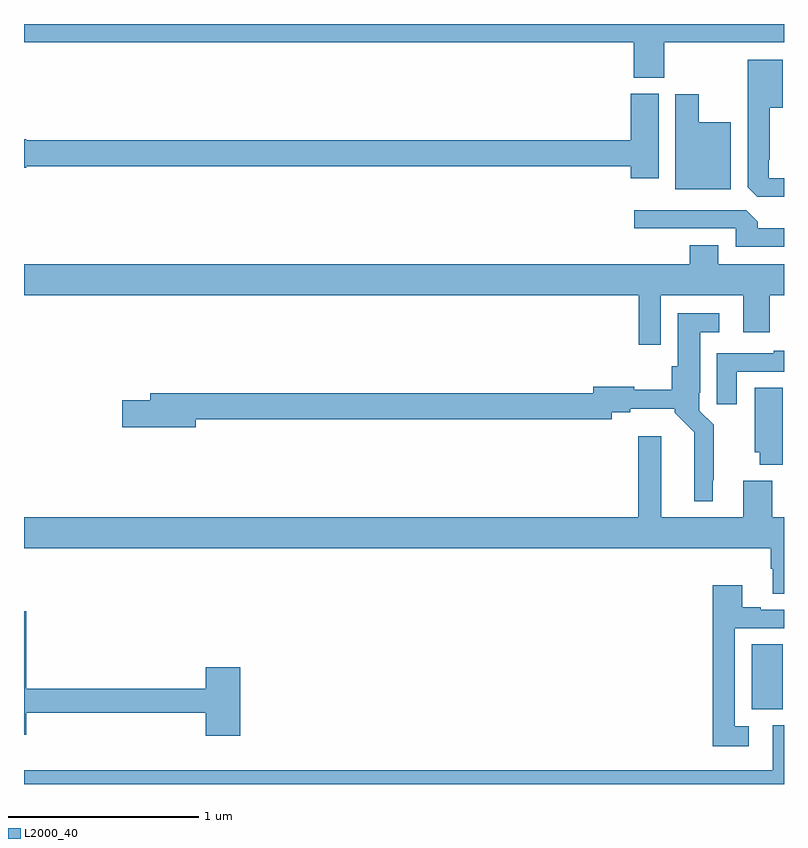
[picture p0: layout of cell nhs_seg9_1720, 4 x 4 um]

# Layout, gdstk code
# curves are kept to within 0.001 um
import gdstk
lib = gdstk.Library(unit=1e-6, precision=1e-09)
def R(c, l, rs):  # rectangles x0, y0, x1, y1
    for r in rs: c.add(gdstk.rectangle(r[:2], r[2:], *l))
def P(c, l, *ps):  # polygons
    for p in ps: c.add(gdstk.Polygon(p, *l))
L2000_40 = (2000, 40)

nhs_seg9_1720 = lib.new_cell('nhs_seg9_1720')
R(nhs_seg9_1720, L2000_40, [(210.83,1208.893,210.994,1209.236)])
P(nhs_seg9_1720, L2000_40, [(210.369,1212.404),(211,1212.404),(211,1212.5),(207,1212.5),(207,1212.404),(210.209,1212.404),(210.209,1212.217),(210.369,1212.217)],
  [(211,1211.688),(210.921,1211.688),(210.921,1211.785),(210.925,1211.785),(210.925,1212.059),(210.994,1212.059),(210.994,1212.313),(210.809,1212.313),(210.809,1211.641),(210.858,1211.592),(211,1211.592)],
  [(210.34,1212.132),(210.194,1212.132),(210.194,1211.888),(207.012,1211.888),(207.012,1211.894),(207,1211.894),(207,1211.744),(207.012,1211.744),(207.012,1211.752),(210.194,1211.752),(210.194,1211.688),(210.34,1211.688)],
  [(210.721,1211.983),(210.55,1211.983),(210.55,1212.13),(210.428,1212.13),(210.428,1211.63),(210.721,1211.63)],
  [(211,1211.424),(210.863,1211.424),(210.863,1211.458),(210.801,1211.52),(210.213,1211.52),(210.213,1211.424),(210.747,1211.424),(210.747,1211.328),(211,1211.328)],
  [(210.351,1211.072),(210.785,1211.072),(210.785,1210.878),(210.925,1210.878),(210.925,1211.072),(211,1211.072),(211,1211.236),(210.655,1211.236),(210.655,1211.335),(210.503,1211.335),(210.503,1211.236),(207,1211.236),(207,1211.072),(210.235,1211.072),(210.235,1210.812),(210.351,1210.812)],
  [(210.625,1210.099),(210.629,1210.099),(210.629,1210.39),(210.555,1210.464),(210.555,1210.558),(210.559,1210.558),(210.559,1210.877),(210.658,1210.877),(210.658,1210.978),(210.44,1210.978),(210.44,1210.698),(210.41,1210.698),(210.41,1210.575),(210.213,1210.575),(210.213,1210.592),(209.997,1210.592),(209.997,1210.556),(207.665,1210.556),(207.665,1210.52),(207.516,1210.52),(207.516,1210.378),(207.904,1210.378),(207.904,1210.42),(210.093,1210.42),(210.093,1210.456),(210.19,1210.456),(210.19,1210.475),(210.426,1210.475),(210.426,1210.454),(210.528,1210.352),(210.527,1209.989),(210.625,1209.989)],
  [(210.751,1210.671),(211,1210.671),(211,1210.78),(210.947,1210.78),(210.947,1210.767),(210.647,1210.767),(210.647,1210.5),(210.751,1210.5)],
  [(210.994,1210.586),(210.845,1210.586),(210.845,1210.245),(210.872,1210.245),(210.872,1210.181),(210.994,1210.181)],
  [(211,1209.904),(210.938,1209.904),(210.938,1210.096),(210.785,1210.096),(210.785,1209.904),(210.355,1209.904),(210.355,1210.33),(210.233,1210.33),(210.233,1209.904),(207,1209.904),(207,1209.74),(210.929,1209.74),(210.929,1209.634),(210.941,1209.634),(210.941,1209.502),(211,1209.502)],
  [(210.814,1208.805),(210.741,1208.805),(210.741,1209.321),(211,1209.321),(211,1209.417),(210.877,1209.417),(210.877,1209.43),(210.781,1209.43),(210.781,1209.547),(210.625,1209.547),(210.625,1208.7),(210.814,1208.7)],
  [(208.139,1209.115),(207.956,1209.115),(207.956,1209.002),(207.011,1209.002),(207.011,1209.409),(207,1209.409),(207,1208.76),(207.011,1208.76),(207.011,1208.874),(207.956,1208.874),(207.956,1208.754),(208.139,1208.754)],
  [(211,1208.808),(210.941,1208.808),(210.941,1208.572),(207,1208.572),(207,1208.5),(211,1208.5)])

lib.write_gds('nhs_seg9_1720.gds')
